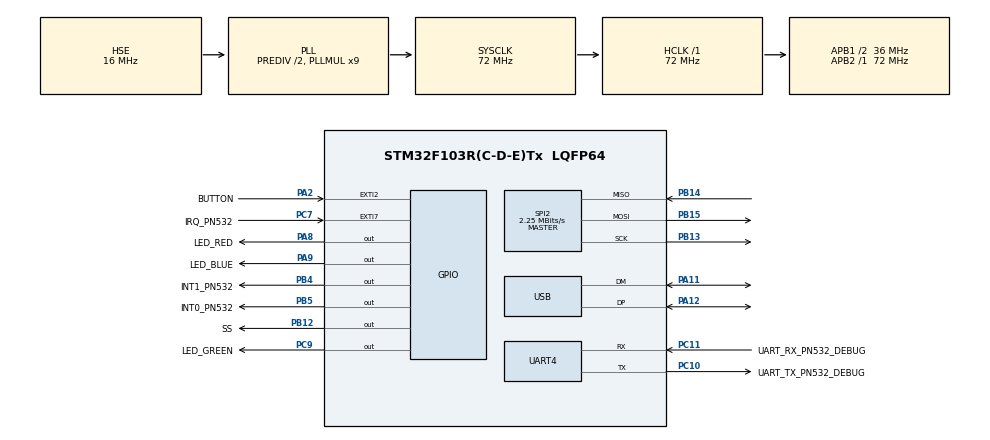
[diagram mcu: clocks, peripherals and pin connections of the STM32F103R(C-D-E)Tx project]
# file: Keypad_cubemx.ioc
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Mcu.Family=STM32F1
Mcu.Name=STM32F103R(C-D-E)Tx
Mcu.Package=LQFP64
NVIC.EXTI2_IRQn=true\:0\:0\:false\:true\:true\:1\:true\:true
NVIC.EXTI9_5_IRQn=true\:0\:0\:false\:true\:true\:2\:true\:true
NVIC.PriorityGroup=NVIC_PRIORITYGROUP_4
NVIC.SPI2_IRQn=true\:0\:0\:true\:false\:true\:true\:true
NVIC.USB_LP_CAN1_RX0_IRQn=true\:0\:0\:false\:false\:true\:false\:true
PA11.Mode=Device
PA11.Signal=USB_DM
PA12.Mode=Device
PA12.Signal=USB_DP
PA13.Mode=Trace_Asynchronous_SW
PA13.Signal=SYS_JTMS-SWDIO
PA14.Mode=Trace_Asynchronous_SW
PA14.Signal=SYS_JTCK-SWCLK
PA2.GPIO_Label=BUTTON
PA2.GPIO_ModeDefaultEXTI=GPIO_MODE_IT_FALLING
PA2.Signal=GPXTI2
PA8.GPIO_Label=LED_RED
PA8.Signal=GPIO_Output
PA9.GPIO_Label=LED_BLUE
PA9.Signal=GPIO_Output
PB12.GPIO_Label=SS
PB12.PinState=GPIO_PIN_SET
PB12.Signal=GPIO_Output
PB13.Mode=Full_Duplex_Master
PB13.Signal=SPI2_SCK
PB14.Mode=Full_Duplex_Master
PB14.Signal=SPI2_MISO
PB15.Mode=Full_Duplex_Master
PB15.Signal=SPI2_MOSI
PB3.Mode=Trace_Asynchronous_SW
PB3.Signal=SYS_JTDO-TRACESWO
PB4.GPIO_Label=INT1_PN532
PB4.Signal=GPIO_Output
PB5.GPIO_Label=INT0_PN532
PB5.Signal=GPIO_Output
PC10.GPIO_Label=UART_TX_PN532_DEBUG
PC10.Mode=Asynchronous
PC10.Signal=UART4_TX
PC11.GPIO_Label=UART_RX_PN532_DEBUG
PC11.Mode=Asynchronous
PC11.Signal=UART4_RX
PC7.GPIO_Label=IRQ_PN532
PC7.Signal=GPXTI7
PC9.GPIO_Label=LED_GREEN
PC9.Signal=GPIO_Output
PD0-OSC_IN.Mode=HSE-External-Oscillator
PD0-OSC_IN.Signal=RCC_OSC_IN
PD1-OSC_OUT.Mode=HSE-External-Oscillator
PD1-OSC_OUT.Signal=RCC_OSC_OUT
ProjectManager.HeapSize=0x200
ProjectManager.StackSize=0x400
ProjectManager.TargetToolchain=Makefile
RCC.AHBFreq_Value=72000000
RCC.APB1CLKDivider=RCC_HCLK_DIV2
RCC.APB1Freq_Value=36000000
RCC.APB1TimFreq_Value=72000000
RCC.APB2Freq_Value=72000000
RCC.APB2TimFreq_Value=72000000
RCC.EnbaleCSS=true
RCC.HCLKFreq_Value=72000000
RCC.HSEDivPLL=RCC_HSE_PREDIV_DIV2
RCC.HSE_VALUE=16000000
RCC.PLLMUL=RCC_PLL_MUL9
RCC.SYSCLKFreq_VALUE=72000000
RCC.SYSCLKSource=RCC_SYSCLKSOURCE_PLLCLK
RCC.USBFreq_Value=48000000
RCC.USBPrescaler=RCC_USBCLKSOURCE_PLL_DIV1_5
SPI2.BaudRatePrescaler=SPI_BAUDRATEPRESCALER_16
SPI2.CalculateBaudRate=2.25 MBits/s
SPI2.Direction=SPI_DIRECTION_2LINES
SPI2.FirstBit=SPI_FIRSTBIT_LSB
SPI2.Mode=SPI_MODE_MASTER
SPI2.VirtualType=VM_MASTER
UART4.VirtualMode=Asynchronous
USB_DEVICE.CLASS_NAME_FS=CUSTOM_HID
USB_DEVICE.VirtualMode=CustomHid
USB_DEVICE.VirtualModeFS=Custom_Hid_FS
VP_USB_DEVICE_VS_USB_DEVICE_CUSTOM_HID_FS.Mode=CUSTOM_HID_FS
board=custom

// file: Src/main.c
/* USER CODE BEGIN Header */
/**
  ******************************************************************************
  * @file           : main.c
  * @brief          : Main program body
  ******************************************************************************
  * @attention
  *
  * <h2><center>&copy; Copyright (c) 2021 STMicroelectronics.
  * All rights reserved.</center></h2>
  *
  * This software component is licensed by ST under BSD 3-Clause license,
  * the "License"; You may not use this file except in compliance with the
  * License. You may obtain a copy of the License at:
  *                        opensource.org/licenses/BSD-3-Clause
  *
  ******************************************************************************
  */
/* USER CODE END Header */
#include "main.h"
#include "spi.h"
#include "usart.h"
#include "usb_device.h"
#include "gpio.h"

/* USER CODE BEGIN Includes */
#include "pn532_stm32f1.h"
/* USER CODE END Includes */

void SystemClock_Config(void);
static void MX_NVIC_Init(void);

int main(void)
{
  /* USER CODE BEGIN 1 */
  uint8_t buff[255];
  uint8_t uid[MIFARE_UID_MAX_LENGTH];
  uint8_t key_a[] = {0xFF, 0xFF, 0xFF, 0xFF, 0xFF, 0xFF};
  uint32_t pn532_error = PN532_ERROR_NONE;
  int32_t uid_len = 0;
  /* USER CODE END 1 */

  /* MCU Configuration--------------------------------------------------------*/

  /* Reset of all peripherals, Initializes the Flash interface and the Systick. */
  HAL_Init();

  /* Configure the system clock */
  SystemClock_Config();

  /* Initialize all configured peripherals */
  MX_GPIO_Init();
  MX_SPI2_Init();
  MX_UART4_Init();
  MX_USB_DEVICE_Init();

  /* Initialize interrupts */
  MX_NVIC_Init();
  /* USER CODE BEGIN 2 */
  PN532 pn532;
  PN532_Init(&pn532);
  HAL_Delay(100);
  if (PN532_GetFirmwareVersion(&pn532, buff) == PN532_STATUS_OK) {
    HAL_GPIO_WritePin(LED_GREEN_GPIO_Port, LED_GREEN_Pin, SET);
    HAL_Delay(1000);
    HAL_GPIO_WritePin(LED_GREEN_GPIO_Port, LED_GREEN_Pin, RESET);
  } else {
    return -1;
  }
  PN532_SamConfiguration(&pn532);
  HAL_GPIO_WritePin(LED_BLUE_GPIO_Port, LED_BLUE_Pin, SET);
  /* USER CODE END 2 */

  /* Infinite loop */
  while (1)
  {

    /* USER CODE BEGIN 3 */
    // Check if a card is available to read
    uid_len = PN532_ReadPassiveTarget(&pn532, uid, PN532_MIFARE_ISO14443A, 1000);
    if (uid_len == PN532_STATUS_ERROR) {
      __NOP();
    } else {
      HAL_GPIO_WritePin(LED_BLUE_GPIO_Port, LED_BLUE_Pin, RESET);
      HAL_GPIO_WritePin(LED_GREEN_GPIO_Port, LED_GREEN_Pin, SET);
      HAL_Delay(500);
      HAL_GPIO_WritePin(LED_GREEN_GPIO_Port, LED_GREEN_Pin, RESET);
      HAL_GPIO_WritePin(LED_BLUE_GPIO_Port, LED_BLUE_Pin, SET);
      /*
      printf("Found card with UID: ");
      for (uint8_t i = 0; i < uid_len; i++) {
        printf("%02x ", uid[i]);
      }
      printf("\r\n");
      */
    }
  }
  /* USER CODE END 3 */
}

void SystemClock_Config(void)
{
  RCC_OscInitTypeDef RCC_OscInitStruct = {0};
  RCC_ClkInitTypeDef RCC_ClkInitStruct = {0};
  RCC_PeriphCLKInitTypeDef PeriphClkInit = {0};

  /** Initializes the RCC Oscillators according to the specified parameters
  * in the RCC_OscInitTypeDef structure.
  */
  RCC_OscInitStruct.OscillatorType = RCC_OSCILLATORTYPE_HSE;
  RCC_OscInitStruct.HSEState = RCC_HSE_ON;
  RCC_OscInitStruct.HSEPredivValue = RCC_HSE_PREDIV_DIV2;
  RCC_OscInitStruct.HSIState = RCC_HSI_ON;
  RCC_OscInitStruct.PLL.PLLState = RCC_PLL_ON;
  RCC_OscInitStruct.PLL.PLLSource = RCC_PLLSOURCE_HSE;
  RCC_OscInitStruct.PLL.PLLMUL = RCC_PLL_MUL9;
  if (HAL_RCC_OscConfig(&RCC_OscInitStruct) != HAL_OK)
  {
    Error_Handler();
  }
  /** Initializes the CPU, AHB and APB buses clocks
  */
  RCC_ClkInitStruct.ClockType = RCC_CLOCKTYPE_HCLK|RCC_CLOCKTYPE_SYSCLK
                              |RCC_CLOCKTYPE_PCLK1|RCC_CLOCKTYPE_PCLK2;
  RCC_ClkInitStruct.SYSCLKSource = RCC_SYSCLKSOURCE_PLLCLK;
  RCC_ClkInitStruct.AHBCLKDivider = RCC_SYSCLK_DIV1;
  RCC_ClkInitStruct.APB1CLKDivider = RCC_HCLK_DIV2;
  RCC_ClkInitStruct.APB2CLKDivider = RCC_HCLK_DIV1;

  if (HAL_RCC_ClockConfig(&RCC_ClkInitStruct, FLASH_LATENCY_2) != HAL_OK)
  {
    Error_Handler();
  }
  PeriphClkInit.PeriphClockSelection = RCC_PERIPHCLK_USB;
  PeriphClkInit.UsbClockSelection = RCC_USBCLKSOURCE_PLL_DIV1_5;
  if (HAL_RCCEx_PeriphCLKConfig(&PeriphClkInit) != HAL_OK)
  {
    Error_Handler();
  }
  /** Enables the Clock Security System
  */
  HAL_RCC_EnableCSS();
}

/**
  * @brief NVIC Configuration.
  * @retval None
  */
static void MX_NVIC_Init(void)
{
  /* EXTI2_IRQn interrupt configuration */
  HAL_NVIC_SetPriority(EXTI2_IRQn, 0, 0);
  HAL_NVIC_EnableIRQ(EXTI2_IRQn);
  /* EXTI9_5_IRQn interrupt configuration */
  HAL_NVIC_SetPriority(EXTI9_5_IRQn, 0, 0);
  HAL_NVIC_EnableIRQ(EXTI9_5_IRQn);
}

/* USER CODE BEGIN 4 */
void HAL_GPIO_EXTI_Callback(uint16_t GPIO_Pin)
{
    if (GPIO_Pin == BUTTON_Pin)
    {
        HAL_GPIO_TogglePin(LED_RED_GPIO_Port, LED_RED_Pin);
    } else {
      __NOP();
    }
}

/* USER CODE END 4 */

void Error_Handler(void)
{
  __disable_irq();
  while (1)
  {
  }
}

/************************ (C) COPYRIGHT STMicroelectronics *****END OF FILE****/
